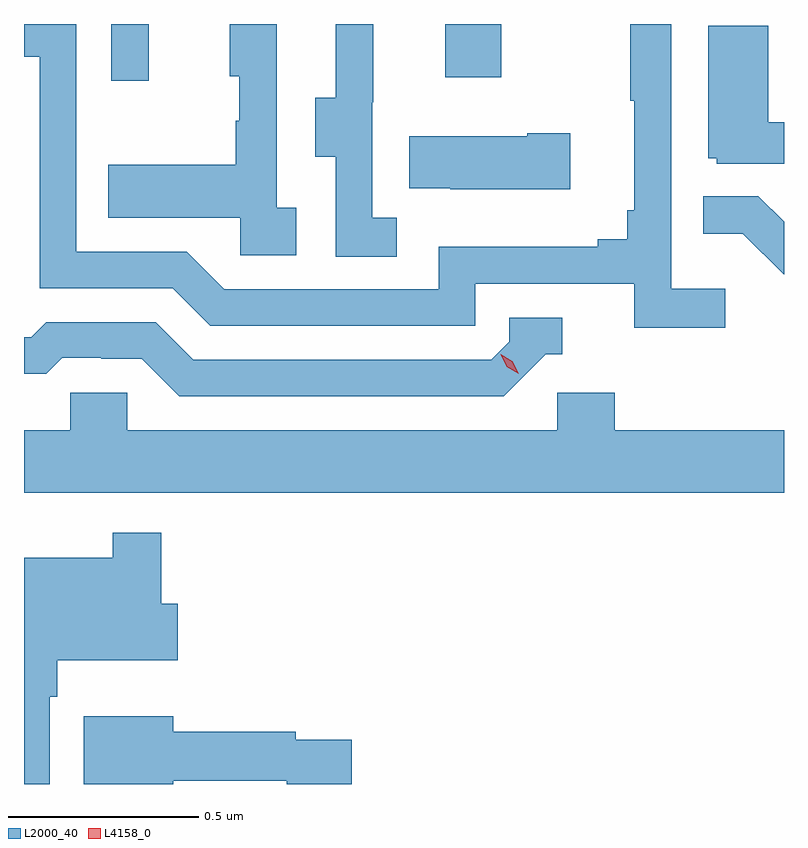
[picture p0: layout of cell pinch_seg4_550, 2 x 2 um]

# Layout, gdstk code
import gdstk
lib = gdstk.Library(unit=1e-6, precision=1e-09)
def R(c, l, rs):  # rectangles x0, y0, x1, y1
    for r in rs: c.add(gdstk.rectangle(r[:2], r[2:], *l))
def P(c, l, *ps):  # polygons
    for p in ps: c.add(gdstk.Polygon(p, *l))
L2000_40 = (2000, 40)
L4158_0 = (4158, 0)

pinch_seg4_550 = lib.new_cell('pinch_seg4_550')
R(pinch_seg4_550, L2000_40, [(1132.581,787.248,1132.679,787.397), (1133.459,787.257,1133.607,787.397)])
P(pinch_seg4_550, L2000_40, [(1133.332,786.887),(1133.268,786.887),(1133.268,787.191),(1133.27,787.191),(1133.27,787.397),(1133.171,787.397),(1133.171,787.203),(1133.117,787.203),(1133.117,787.048),(1133.172,787.048),(1133.172,786.784),(1133.332,786.784)],
  [(1134.196,786.7),(1134.054,786.7),(1134.054,787.397),(1133.946,787.397),(1133.946,787.195),(1133.957,787.195),(1133.957,786.907),(1133.938,786.907),(1133.938,786.83),(1133.861,786.83),(1133.861,786.811),(1133.442,786.811),(1133.442,786.699),(1132.878,786.699),(1132.779,786.798),(1132.488,786.798),(1132.488,787.397),(1132.351,787.397),(1132.351,787.311),(1132.392,787.311),(1132.392,786.702),(1132.742,786.702),(1132.841,786.603),(1133.538,786.603),(1133.538,786.714),(1133.957,786.714),(1133.957,786.598),(1134.196,786.598)],
  [(1133.068,786.914),(1133.016,786.914),(1133.016,787.397),(1132.892,787.397),(1132.892,787.26),(1132.918,787.26),(1132.918,787.142),(1132.908,787.142),(1132.908,787.027),(1132.573,787.027),(1132.573,786.887),(1132.92,786.887),(1132.92,786.789),(1133.068,786.789)],
  [(1134.351,787.138),(1134.31,787.138),(1134.31,787.393),(1134.152,787.393),(1134.152,787.044),(1134.174,787.044),(1134.174,787.029),(1134.351,787.029)],
  [(1133.788,787.11),(1133.675,787.11),(1133.675,787.102),(1133.365,787.102),(1133.365,786.965),(1133.473,786.965),(1133.473,786.962),(1133.788,786.962)],
  [(1134.351,786.876),(1134.283,786.944),(1134.139,786.944),(1134.139,786.845),(1134.243,786.845),(1134.35,786.738),(1134.351,786.738)],
  [(1133.724,786.528),(1133.767,786.528),(1133.767,786.624),(1133.628,786.624),(1133.628,786.561),(1133.58,786.513),(1132.797,786.513),(1132.698,786.612),(1132.409,786.612),(1132.37,786.573),(1132.351,786.573),(1132.351,786.477),(1132.409,786.477),(1132.451,786.519),(1132.554,786.519),(1132.554,786.516),(1132.661,786.516),(1132.76,786.417),(1133.613,786.417)],
  [(1134.351,786.328),(1133.906,786.328),(1133.906,786.426),(1133.754,786.426),(1133.754,786.328),(1132.623,786.328),(1132.623,786.426),(1132.473,786.426),(1132.473,786.328),(1132.351,786.328),(1132.351,786.164),(1134.351,786.164)],
  [(1132.419,785.627),(1132.439,785.627),(1132.439,785.723),(1132.756,785.723),(1132.756,785.871),(1132.712,785.871),(1132.712,786.058),(1132.584,786.058),(1132.584,785.992),(1132.351,785.992),(1132.351,785.397),(1132.419,785.397)],
  [(1132.744,785.406),(1133.042,785.406),(1133.042,785.397),(1133.213,785.397),(1133.213,785.514),(1133.066,785.514),(1133.066,785.534),(1132.744,785.534),(1132.744,785.575),(1132.508,785.575),(1132.508,785.397),(1132.744,785.397)])
P(pinch_seg4_550, L4158_0, [(1133.653,786.476),(1133.622,786.495),(1133.605,786.528),(1133.605,786.528),(1133.606,786.528),(1133.636,786.509),(1133.653,786.476),(1133.653,786.476)])

lib.write_gds('pinch_seg4_550.gds')
